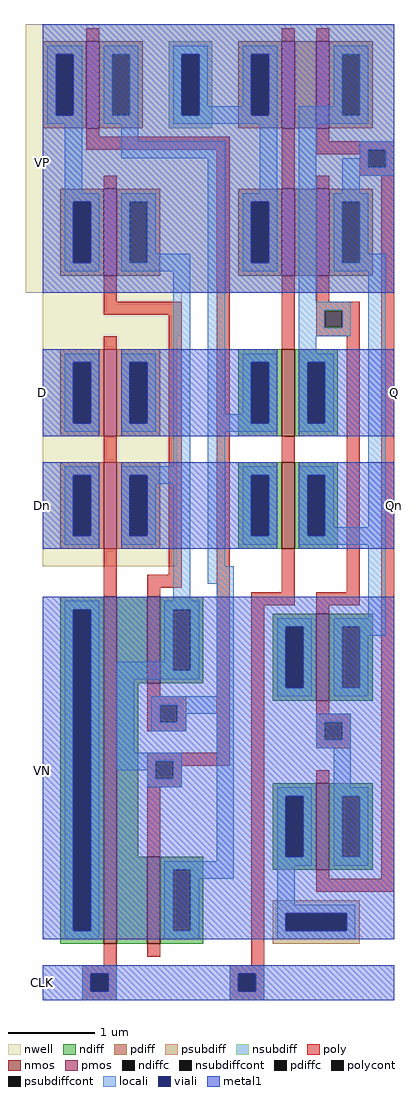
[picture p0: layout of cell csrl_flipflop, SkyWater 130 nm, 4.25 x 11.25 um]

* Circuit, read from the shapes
.subckt csrl_flipflop CLK VN Dn D VP Q Qn
XM1 n1 CLK VN VN sky130_fd_pr__nfet_01v8 w=4 l=0.15
XM2 n2 n3 n1 VN sky130_fd_pr__nfet_01v8 w=1 l=0.15
XM3 n3 n2 n1 VN sky130_fd_pr__nfet_01v8 w=1 l=0.15
XM4 Qn CLK n3 VN sky130_fd_pr__nfet_01v8 w=1 l=0.15
XM5 Q CLK n2 VN sky130_fd_pr__nfet_01v8 w=1 l=0.15
XM6 Q Qn VN VN sky130_fd_pr__nfet_01v8 w=1 l=0.15
XM7 Qn Q VN VN sky130_fd_pr__nfet_01v8 w=1 l=0.15
XM8 n2 n3 VP VP sky130_fd_pr__pfet_01v8 w=1 l=0.15
XM9 n3 CLK Dn VP sky130_fd_pr__pfet_01v8 w=1 l=0.15
XM10 n2 CLK D VP sky130_fd_pr__pfet_01v8 w=1 l=0.15
XM11 n3 n2 VP VP sky130_fd_pr__pfet_01v8 w=1 l=0.15
XM12 n4 CLK VP VP sky130_fd_pr__pfet_01v8 w=1 l=0.15
XM13 n5 CLK VP VP sky130_fd_pr__pfet_01v8 w=1 l=0.15
XM14 Qn Q n4 VP sky130_fd_pr__pfet_01v8 w=1 l=0.15
XM15 Q Qn n5 VP sky130_fd_pr__pfet_01v8 w=1 l=0.15
.ends

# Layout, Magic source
magic
tech sky130A
<< nwell >>
rect -145 585 280 895
rect -125 535 35 585
rect -125 270 30 535
<< nmos >>
rect -55 -165 -40 235
rect -5 135 10 235
rect 150 420 165 520
rect 150 290 165 390
rect -5 -165 10 -65
rect 190 115 205 215
rect 190 -80 205 20
<< pmos >>
rect -75 775 -60 875
rect 150 775 165 875
rect 190 775 205 875
rect -55 605 -40 705
rect -55 420 -40 520
rect -55 290 -40 390
rect 150 605 165 705
rect 190 605 205 705
<< ndiff >>
rect -105 220 -55 235
rect -105 -150 -90 220
rect -70 -150 -55 220
rect -105 -165 -55 -150
rect -40 135 -5 235
rect 10 220 60 235
rect 10 150 25 220
rect 45 150 60 220
rect 10 135 60 150
rect -40 -65 -15 135
rect 100 505 150 520
rect 100 435 115 505
rect 135 435 150 505
rect 100 420 150 435
rect 165 505 215 520
rect 165 435 180 505
rect 200 435 215 505
rect 165 420 215 435
rect 100 375 150 390
rect 100 305 115 375
rect 135 305 150 375
rect 100 290 150 305
rect 165 375 215 390
rect 165 305 180 375
rect 200 305 215 375
rect 165 290 215 305
rect -40 -165 -5 -65
rect 10 -80 60 -65
rect 10 -150 25 -80
rect 45 -150 60 -80
rect 10 -165 60 -150
rect 140 200 190 215
rect 140 130 155 200
rect 175 130 190 200
rect 140 115 190 130
rect 205 200 255 215
rect 205 130 220 200
rect 240 130 255 200
rect 205 115 255 130
rect 140 5 190 20
rect 140 -65 155 5
rect 175 -65 190 5
rect 140 -80 190 -65
rect 205 5 255 20
rect 205 -65 220 5
rect 240 -65 255 5
rect 205 -80 255 -65
<< pdiff >>
rect -125 860 -75 875
rect -125 790 -110 860
rect -90 790 -75 860
rect -125 775 -75 790
rect -60 860 -10 875
rect -60 790 -45 860
rect -25 790 -10 860
rect -60 775 -10 790
rect 100 860 150 875
rect 100 790 115 860
rect 135 790 150 860
rect 100 775 150 790
rect 165 775 190 875
rect 205 860 255 875
rect 205 790 220 860
rect 240 790 255 860
rect 205 775 255 790
rect -105 690 -55 705
rect -105 620 -90 690
rect -70 620 -55 690
rect -105 605 -55 620
rect -40 690 10 705
rect -40 620 -25 690
rect -5 620 10 690
rect -40 605 10 620
rect -105 505 -55 520
rect -105 435 -90 505
rect -70 435 -55 505
rect -105 420 -55 435
rect -40 505 10 520
rect -40 435 -25 505
rect -5 435 10 505
rect -40 420 10 435
rect -105 375 -55 390
rect -105 305 -90 375
rect -70 305 -55 375
rect -105 290 -55 305
rect -40 375 10 390
rect -40 305 -25 375
rect -5 305 10 375
rect -40 290 10 305
rect 100 690 150 705
rect 100 620 115 690
rect 135 620 150 690
rect 100 605 150 620
rect 165 605 190 705
rect 205 690 255 705
rect 205 620 220 690
rect 240 620 255 690
rect 205 605 255 620
<< ndiffc >>
rect -90 -150 -70 220
rect 25 150 45 220
rect 115 435 135 505
rect 180 435 200 505
rect 115 305 135 375
rect 180 305 200 375
rect 25 -150 45 -80
rect 155 130 175 200
rect 220 130 240 200
rect 155 -65 175 5
rect 220 -65 240 5
<< pdiffc >>
rect -110 790 -90 860
rect -45 790 -25 860
rect 115 790 135 860
rect 220 790 240 860
rect -90 620 -70 690
rect -25 620 -5 690
rect -90 435 -70 505
rect -25 435 -5 505
rect -90 305 -70 375
rect -25 305 -5 375
rect 115 620 135 690
rect 220 620 240 690
<< psubdiff >>
rect 140 -130 240 -115
rect 140 -150 155 -130
rect 225 -150 240 -130
rect 140 -165 240 -150
<< nsubdiff >>
rect 20 860 70 875
rect 20 790 35 860
rect 55 790 70 860
rect 20 775 70 790
<< psubdiffcont >>
rect 155 -150 225 -130
<< nsubdiffcont >>
rect 35 790 55 860
<< poly >>
rect -75 875 -60 890
rect 150 875 165 890
rect 190 875 205 890
rect -75 765 -60 775
rect -75 750 90 765
rect -55 705 -40 720
rect -55 575 -40 605
rect -55 560 35 575
rect -55 520 -40 535
rect -55 390 -40 420
rect -55 235 -40 290
rect 20 260 35 560
rect -5 245 35 260
rect -5 235 10 245
rect -5 120 10 135
rect -5 110 40 120
rect -5 90 10 110
rect 30 90 40 110
rect -5 80 40 90
rect 75 55 90 750
rect 150 705 165 775
rect 190 760 205 775
rect 190 750 280 760
rect 190 745 250 750
rect 240 730 250 745
rect 270 730 280 750
rect 240 720 280 730
rect 190 705 205 720
rect 150 520 165 605
rect 190 575 205 605
rect 190 565 240 575
rect 190 545 200 565
rect 220 545 240 565
rect 190 535 240 545
rect 150 390 165 420
rect 150 240 165 290
rect 225 240 240 535
rect -5 45 90 55
rect -5 25 5 45
rect 25 40 90 45
rect 115 225 165 240
rect 190 225 240 240
rect 25 25 35 40
rect -5 15 35 25
rect -5 -65 10 15
rect -55 -190 -40 -165
rect -5 -180 10 -165
rect 115 -190 130 225
rect 190 215 205 225
rect 190 100 205 115
rect 190 90 230 100
rect 190 70 200 90
rect 220 70 230 90
rect 190 60 230 70
rect 190 20 205 35
rect 190 -90 205 -80
rect 265 -90 280 720
rect 190 -105 280 -90
rect -80 -200 -40 -190
rect -80 -220 -70 -200
rect -50 -220 -40 -200
rect -80 -230 -40 -220
rect 90 -200 130 -190
rect 90 -220 100 -200
rect 120 -220 130 -200
rect 90 -230 130 -220
<< polycont >>
rect 10 90 30 110
rect 250 730 270 750
rect 200 545 220 565
rect 5 25 25 45
rect 200 70 220 90
rect -70 -220 -50 -200
rect 100 -220 120 -200
<< locali >>
rect -120 860 -80 870
rect -120 790 -110 860
rect -90 790 -80 860
rect -120 780 -80 790
rect -55 860 -15 870
rect -55 790 -45 860
rect -25 790 -15 860
rect -55 780 -15 790
rect 25 860 65 870
rect 25 790 35 860
rect 55 800 65 860
rect 105 860 145 870
rect 105 800 115 860
rect 55 790 115 800
rect 135 790 145 860
rect 210 860 250 870
rect 210 800 220 860
rect 25 780 145 790
rect -100 700 -80 780
rect -35 760 -15 780
rect -35 740 85 760
rect -100 690 -60 700
rect -100 620 -90 690
rect -70 620 -60 690
rect -100 610 -60 620
rect -35 690 5 700
rect -35 620 -25 690
rect -5 630 5 690
rect -5 620 45 630
rect -35 610 45 620
rect -100 505 -60 515
rect -100 435 -90 505
rect -70 435 -60 505
rect -100 425 -60 435
rect -35 505 5 515
rect -35 435 -25 505
rect -5 435 5 505
rect -35 425 5 435
rect 25 385 45 610
rect -100 375 -60 385
rect -100 305 -90 375
rect -70 305 -60 375
rect -100 295 -60 305
rect -35 375 45 385
rect -35 305 -25 375
rect -5 365 45 375
rect -5 305 5 365
rect -35 295 5 305
rect 25 230 45 365
rect 65 445 85 740
rect 125 700 145 780
rect 105 690 145 700
rect 105 620 115 690
rect 135 620 145 690
rect 105 610 145 620
rect 170 790 220 800
rect 240 790 250 860
rect 170 780 250 790
rect 170 575 190 780
rect 240 750 280 760
rect 240 740 250 750
rect 220 730 250 740
rect 270 730 280 750
rect 220 720 280 730
rect 220 700 240 720
rect 210 690 250 700
rect 210 620 220 690
rect 240 630 250 690
rect 240 620 270 630
rect 210 610 270 620
rect 170 565 230 575
rect 170 545 200 565
rect 220 545 230 565
rect 170 535 230 545
rect 170 515 190 535
rect 105 505 145 515
rect 105 445 115 505
rect 65 435 115 445
rect 135 435 145 505
rect 65 425 145 435
rect 170 505 210 515
rect 170 435 180 505
rect 200 435 210 505
rect 170 425 210 435
rect 65 270 85 425
rect 105 375 145 385
rect 105 305 115 375
rect 135 305 145 375
rect 105 295 145 305
rect 170 375 210 385
rect 170 305 180 375
rect 200 315 210 375
rect 250 315 270 610
rect 200 305 270 315
rect 170 295 270 305
rect 65 250 95 270
rect -100 220 -60 230
rect -100 -150 -90 220
rect -70 -150 -60 220
rect 15 220 55 230
rect 15 160 25 220
rect -40 150 25 160
rect 45 150 55 220
rect -40 140 55 150
rect -40 55 -20 140
rect 75 120 95 250
rect 250 210 270 295
rect 145 200 185 210
rect 145 130 155 200
rect 175 130 185 200
rect 145 120 185 130
rect 210 200 270 210
rect 210 130 220 200
rect 240 190 270 200
rect 240 130 250 190
rect 210 120 250 130
rect 0 110 95 120
rect 0 90 10 110
rect 30 100 95 110
rect 30 90 40 100
rect 0 80 40 90
rect -40 45 35 55
rect -40 35 5 45
rect -5 25 5 35
rect 25 25 35 45
rect -5 15 35 25
rect 75 -70 95 100
rect 190 90 230 100
rect 190 70 200 90
rect 220 70 230 90
rect 190 60 230 70
rect 210 15 230 60
rect -100 -160 -60 -150
rect 15 -80 95 -70
rect 15 -150 25 -80
rect 45 -90 95 -80
rect 145 5 185 15
rect 145 -65 155 5
rect 175 -65 185 5
rect 145 -75 185 -65
rect 210 5 250 15
rect 210 -65 220 5
rect 240 -65 250 5
rect 210 -75 250 -65
rect 45 -150 55 -90
rect 15 -160 55 -150
rect 145 -120 165 -75
rect 145 -130 235 -120
rect 145 -150 155 -130
rect 225 -150 235 -130
rect 145 -160 235 -150
rect -80 -200 -40 -190
rect -80 -220 -70 -200
rect -50 -220 -40 -200
rect -80 -230 -40 -220
rect 90 -200 130 -190
rect 90 -220 100 -200
rect 120 -220 130 -200
rect 90 -230 130 -220
<< viali >>
rect -110 790 -90 860
rect 35 790 55 860
rect 115 790 135 860
rect -90 620 -70 690
rect -90 435 -70 505
rect -25 435 -5 505
rect -90 305 -70 375
rect -25 305 -5 375
rect 115 620 135 690
rect 115 435 135 505
rect 180 435 200 505
rect 115 305 135 375
rect 180 305 200 375
rect -90 -150 -70 220
rect 155 130 175 200
rect 155 -65 175 5
rect 155 -150 225 -130
rect -70 -220 -50 -200
rect 100 -220 120 -200
<< metal1 >>
rect -125 860 280 895
rect -125 790 -110 860
rect -90 790 35 860
rect 55 790 115 860
rect 135 790 280 860
rect -125 690 280 790
rect -125 620 -90 690
rect -70 620 115 690
rect 135 620 280 690
rect -125 585 280 620
rect -125 505 -60 520
rect -125 435 -90 505
rect -70 435 -60 505
rect -125 420 -60 435
rect -35 505 145 520
rect -35 435 -25 505
rect -5 435 115 505
rect 135 435 145 505
rect -35 420 145 435
rect 170 505 280 520
rect 170 435 180 505
rect 200 435 280 505
rect 170 420 280 435
rect -125 375 -60 390
rect -125 305 -90 375
rect -70 305 -60 375
rect -125 290 -60 305
rect -35 375 145 390
rect -35 305 -25 375
rect -5 305 115 375
rect 135 305 145 375
rect -35 290 145 305
rect 170 375 280 390
rect 170 305 180 375
rect 200 305 280 375
rect 170 290 280 305
rect -125 220 280 235
rect -125 -150 -90 220
rect -70 200 280 220
rect -70 130 155 200
rect 175 130 280 200
rect -70 5 280 130
rect -70 -65 155 5
rect 175 -65 280 5
rect -70 -130 280 -65
rect -70 -150 155 -130
rect 225 -150 280 -130
rect -125 -160 280 -150
rect -125 -200 280 -190
rect -125 -220 -70 -200
rect -50 -220 100 -200
rect 120 -220 280 -200
rect -125 -230 280 -220
<< labels >>
rlabel metal1 -125 -210 -125 -210 7 CLK
port 1 w
rlabel metal1 -125 35 -125 35 7 VN
port 2 w
rlabel metal1 -125 340 -125 340 7 Dn
port 3 w
rlabel metal1 -125 470 -125 470 7 D
port 4 w
rlabel metal1 -125 735 -125 735 7 VP
port 5 w
rlabel metal1 280 470 280 470 3 Q
port 6 e
rlabel metal1 280 340 280 340 3 Qn
port 7 e
<< end >>
